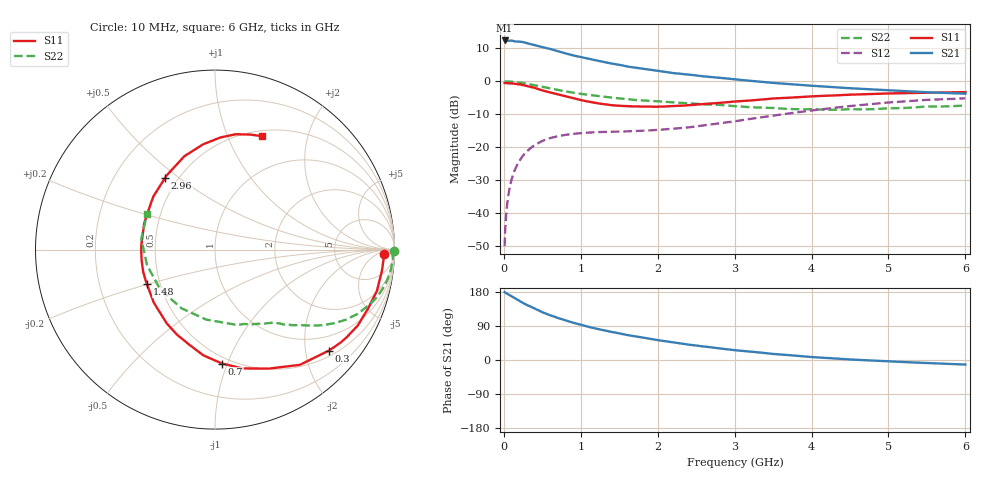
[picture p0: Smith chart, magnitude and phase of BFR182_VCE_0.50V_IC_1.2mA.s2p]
! Infineon Technologies  Discrete & RF Semiconductors
! BFR182
! VCE = 0.50 V,  IC =  1.2 mA
! Common Emitter S-Parameters:  Nov 2015
# GHz  S  MA  R  50
!  f  S11  S21  S12  S22
! GHz  MAG  ANG  MAG  ANG  MAG  ANG  MAG  ANG
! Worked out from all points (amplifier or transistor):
!   210 points, 10 MHz to 6 GHz, reference 50 ohm
!   highest |S21| = 12.4 dB at 10 MHz (marker M1)
!   |S21| within 3 dB of that: start of sweep to 663.5 MHz
!   unconditionally stable (mu >= 1): 1.585 GHz to 3.924 GHz; 5.694 GHz to end of sweep
!   at 185 MHz: K = 0.14, MSG = 18.5 dB, |S12| = -24.9 dB
!   at 1.52 GHz: K = 0.97, MSG = 10.1 dB, |S12| = -15.3 dB
!   at 6 GHz: K = 1.01, MAG = 0.0 dB, |S12| = -5.2 dB
!   S11 on the Smith chart (normalised r, x): 10 MHz: 28, -13; 300 MHz: 0.62, -2.51; 700 MHz: 0.45, -0.96; 1.48 GHz: 0.42, -0.20; 2.96 GHz: 0.42, +0.44; 6 GHz: 0.56, +1.34
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0.01  0.9428 -1.5  4.18 179.2  0.0031 86.4  0.9963 -0.6
0.02  0.9416 -2.7  4.098 177.6  0.0063 85.5  0.9899 -1.4
0.035  0.9389 -4.9  4.114 175.9  0.0109 85.4  0.9912 -2.4
0.06  0.9352 -8.6  4.136 173.0  0.0188 84.1  0.9913 -4.1
0.09  0.9313 -12.9  4.154 169.6  0.0286 81.9  0.9872 -6.1
0.2  0.9011 -28.0  4.023 156.3  0.0608 72.9  0.9585 -13.3
0.3  0.8488 -41.5  3.8 145.2  0.0862 65.2  0.9181 -19.2
0.4  0.797 -53.7  3.559 136.0  0.1069 58.4  0.8713 -24.3
0.5  0.7279 -65.6  3.315 126.1  0.1237 52.9  0.8259 -28.3
0.6  0.68 -76.9  3.111 118.1  0.1366 48.0  0.7815 -31.6
0.7  0.6359 -86.5  2.881 111.0  0.1457 44.1  0.7384 -34.7
0.8  0.5925 -96.3  2.662 104.4  0.1534 40.7  0.7022 -37.1
1.02  0.5125 -115.8  2.309 91.7  0.1632 35.8  0.6392 -41.2
1.2  0.4651 -131.6  2.081 82.7  0.1684 33.0  0.601 -44.5
1.48  0.4253 -153.1  1.799 71.1  0.1714 32.1  0.552 -48.4
2.02  0.4107 169.4  1.431 51.8  0.1831 35.5  0.4953 -56.4
2.6  0.4536 139.1  1.187 35.4  0.213 41.4  0.4455 -68.3
2.96  0.4869 125.0  1.083 26.9  0.2423 43.2  0.4223 -78.1
3.1  0.5001 120.3  1.044 24.1  0.2567 43.3  0.4105 -82.7
4.1  0.5959 94.6  0.841 6.6  0.3714 38.1  0.3713 -124.4
5.1  0.6558 78.4  0.719 -4.5  0.4844 25.3  0.3893 -171.4
6  0.6842 67.4  0.647 -12.0  0.5508 11.5  0.4285 152.1
